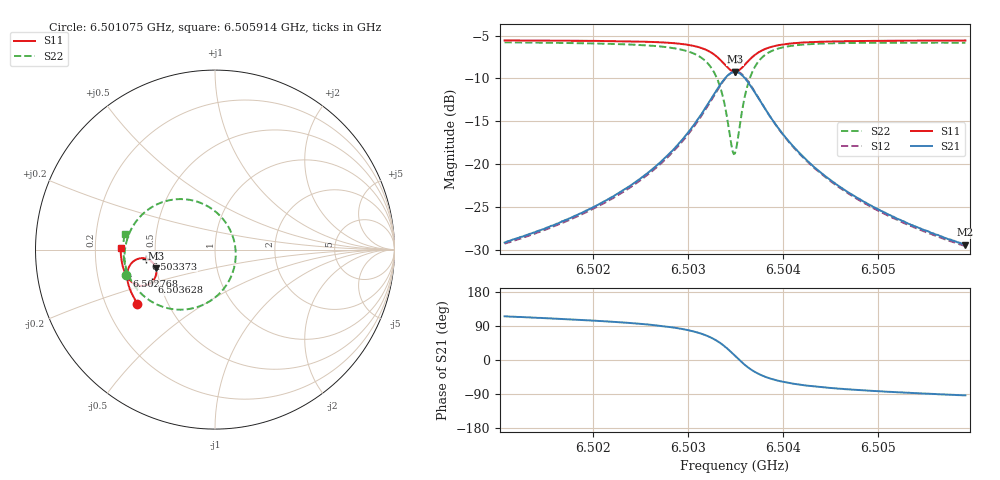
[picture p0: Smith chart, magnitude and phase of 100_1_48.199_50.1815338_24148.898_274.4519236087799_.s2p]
#  HZ  S  RI  R  50.00
! Rohde & Schwarz Vector Network Analyzer
! Rohde-Schwarz,ZNB20-2Port,1311601062101988,3.16
! Created: UTC 3/20/2024, 11:40:33 AM
! freq[Hz]  re:S11  im:S11  re:S21  im:S21  re:S12  im:S12  re:S22  im:S22
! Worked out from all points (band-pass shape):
!   401 points, 6.501075 GHz to 6.505914 GHz, reference 50 ohm
!   highest |S21| = -9.25 dB at 6.503494 GHz (marker M1); lowest = -29.4 dB at 6.505914 GHz (marker M2)
!   |S21| within 3 dB of the highest: 6.503252 GHz to 6.503736 GHz (484.2 kHz wide, 0.00745 % of centre)
!   lowest |S11| = -9.2 dB at 6.503494 GHz (marker M3), VSWR 2.06, Z = 24.7 - j5.76 ohm
!   |S11| at or under -10 dB: nowhere
!   |S22| runs from -18.9 to -5.8 dB; largest |S21 - S12| = 0.012
!   S11 on the Smith chart (normalised r, x): 6.501075 GHz: 0.34, -0.28; 6.502768 GHz: 0.33, -0.13; 6.503373 GHz: 0.44, -0.05; 6.503628 GHz: 0.45, -0.19; 6.505914 GHz: 0.31, +0.01
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6.5010745e9  -0.4319 -0.301  -0.0149 0.0314  -0.013 0.0317  -0.4935 -0.1417
6.5018852e9  -0.4659 -0.24  -0.014 0.0499  -0.0115 0.0495  -0.5044 -0.0532
6.5023571e9  -0.4818 -0.1969  -0.0105 0.0716  -0.00726 0.0703  -0.4991 0.0172
6.5026959e9  -0.4892 -0.1579  -0.000962 0.1006  0.0026 0.0981  -0.4784 0.0889
6.5027685e9  -0.4895 -0.148  0.00304 0.1096  0.00672 0.1067  -0.4693 0.1086
6.5029742e9  -0.4856 -0.1146  0.0246 0.1439  0.0284 0.1395  -0.4237 0.1765
6.5031314e9  -0.4706 -0.0823  0.065 0.1804  0.0677 0.1744  -0.3452 0.2407
6.5032766e9  -0.432 -0.0525  0.1484 0.2093  0.1489 0.203  -0.1931 0.2815
6.503325e9  -0.4104 -0.0477  0.1915 0.2077  0.1916 0.202  -0.1172 0.2721
6.5033734e9  -0.3846 -0.05  0.2413 0.1921  0.2413 0.1874  -0.032 0.2366
6.5034581e9  -0.3412 -0.08  0.3206 0.1156  0.3232 0.1115  0.0946 0.0857
6.5034944e9  -0.3302 -0.1025  0.3383 0.066  0.342 0.0604  0.1151 -0.00786
6.5035186e9  -0.3273 -0.119  0.3417 0.0308  0.3457 0.0238  0.1123 -0.0725
6.5035549e9  -0.3295 -0.1435  0.334 -0.0203  0.3374 -0.0292  0.0837 -0.1632
6.5036275e9  -0.3522 -0.1813  0.2861 -0.0976  0.2859 -0.1093  -0.0293 -0.2878
6.5037364e9  -0.3986 -0.2017  0.1975 -0.1432  0.192 -0.1532  -0.209 -0.3343
6.5038937e9  -0.4463 -0.1922  0.1123 -0.1392  0.1049 -0.1442  -0.3623 -0.2842
6.5040631e9  -0.4745 -0.1709  0.066 -0.1176  0.0595 -0.1199  -0.4368 -0.2166
6.5043051e9  -0.4956 -0.141  0.0351 -0.0918  0.0299 -0.0924  -0.4815 -0.1422
6.5046802e9  -0.5117 -0.1011  0.015 -0.0669  0.0116 -0.0665  -0.5047 -0.0638
6.5051158e9  -0.5208 -0.0601  0.00536 -0.0501  0.00292 -0.0494  -0.5108 -3.07e-05
6.5059144e9  -0.5262 0.00803  -0.00195 -0.0337  -0.00338 -0.0329  -0.5036 0.0867
